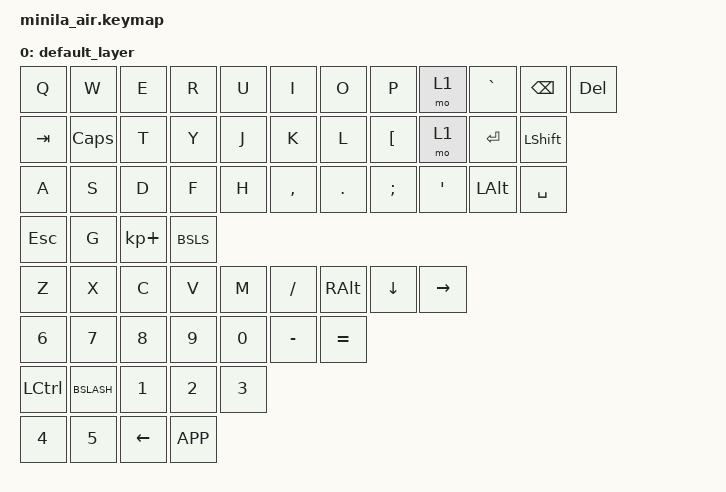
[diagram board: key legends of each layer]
/* config/minila_air.keymap */
 / {
    keymap {
        compatible = "zmk,keymap";

        default_layer {
            bindings = <
                /* ─ row 0 ─ */ &kp Q     &kp W     &kp E     &kp R     &kp U     &kp I     &kp O     &kp P     &mo 1    &kp GRAVE &kp BSPC  &kp DEL
                /* ─ row 1 ─ */ &kp TAB   &kp CAPS  &kp T     &kp Y     &kp J     &kp K     &kp L     &kp LBKT  &mo 1    &kp RET   &kp LSHFT
                /* ─ row 2 ─ */ &kp A     &kp S     &kp D     &kp F     &kp H     &kp COMMA &kp DOT   &kp SEMI  &kp SQT  &kp LALT  &kp SPC
                /* ─ row 3 ─ */ &kp ESC   &kp G     &kp KP_PLUS &kp BSLS
                /* ─ row 4 ─ */ &kp Z     &kp X     &kp C     &kp V     &kp M     &kp SLASH &kp RALT  &kp DOWN  &kp RIGHT
                /* ─ row 5 ─ */ &kp N6    &kp N7    &kp N8    &kp N9    &kp N0    &kp MINUS &kp EQUAL
                /* ─ row 6 ─ */ &kp LCTRL &kp BSLASH &kp N1   &kp N2    &kp N3
                /* ─ row 7 ─ */ &kp N4    &kp N5    &kp LEFT  &kp APP
            >;
        };
    };
};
